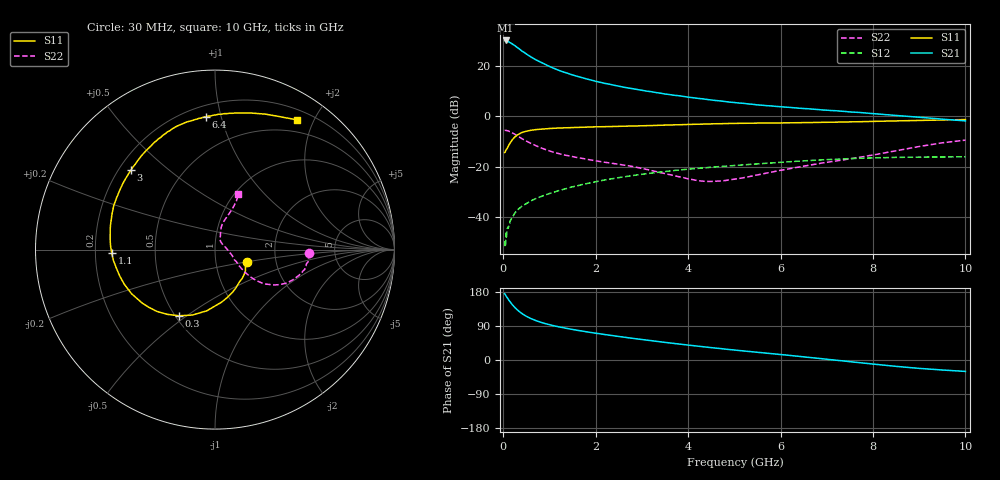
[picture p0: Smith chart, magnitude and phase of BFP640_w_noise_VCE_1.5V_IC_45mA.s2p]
! (c) 2013  Infineon Technologies AG, Munich
! Infineon Technologies  Discrete & RF Semiconductors
! BFP640
! VCE =  1.5 V,  IC =  45 mA
! Common Emitter S-Parameters:  Apr 2013
# GHz  S  MA  R  50
!  f  S11  S21  S12  S22
! GHz  MAG  ANG  MAG  ANG  MAG  ANG  MAG  ANG
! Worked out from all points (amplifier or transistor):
!   99 points, 30 MHz to 10 GHz, reference 50 ohm
!   highest |S21| = 29.9 dB at 50 MHz (marker M1)
!   |S21| within 3 dB of that: start of sweep to 321 MHz
!   unconditionally stable (mu >= 1): start of sweep to end of sweep
!   at 350 MHz: K = 1.06, MAG = 30.0 dB, |S12| = -36.4 dB
!   at 3.5 GHz: K = 1.33, MAG = 11.9 dB, |S12| = -21.9 dB
!   at 10 GHz: K = 1.28, MAG = 3.9 dB, |S12| = -16.0 dB
!   lowest NFmin = 1.34 dB at 450 MHz
!   S11 on the Smith chart (normalised r, x): 30 MHz: 1.41, -0.21; 300 MHz: 0.52, -0.47; 1.1 GHz: 0.27, -0.02; 3 GHz: 0.25, +0.38; 6.4 GHz: 0.27, +0.89; 10 GHz: 0.33, +1.77
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0.03  0.1912 -22.0  30.93 175.0  0.0027 37.6  0.522 -2.1
0.04  0.1942 -29.0  30.62 173.2  0.0033 47.1  0.5246 -3.6
0.05  0.2062 -34.7  31.25 171.5  0.0028 41.1  0.5231 -5.1
0.11  0.2556 -67.2  29.74 160.2  0.0061 61.0  0.5122 -12.5
0.15  0.2955 -83.0  28.27 153.4  0.0085 60.1  0.4907 -16.8
0.2  0.3443 -97.7  26.5 145.5  0.0101 57.4  0.4645 -21.4
0.25  0.386 -109.1  24.74 138.8  0.0121 59.2  0.4391 -25.2
0.3  0.4203 -118.7  22.8 132.9  0.0139 58.5  0.4109 -28.3
0.4  0.473 -133.3  19.39 123.1  0.0165 58.2  0.3608 -32.6
0.5  0.5036 -143.8  16.89 115.4  0.0187 57.8  0.3225 -35.4
0.6  0.5261 -152.2  14.76 109.3  0.0212 56.4  0.2888 -36.8
0.8  0.5512 -164.7  11.76 100.1  0.0254 56.5  0.2396 -37.5
1.1  0.5756 -178.1  8.77 90.3  0.0315 57.0  0.1921 -36.0
1.7  0.602 163.7  5.784 76.5  0.0444 55.2  0.1471 -31.2
2.2  0.6196 152.3  4.434 67.2  0.0549 52.6  0.1226 -27.7
3  0.6444 136.6  3.242 54.1  0.071 46.9  0.0926 -15.5
3.4  0.6602 129.5  2.844 48.0  0.0786 43.3  0.0765 -7.1
5.1  0.7206 106.5  1.814 25.1  0.1074 29.6  0.0586 60.1
6.4  0.7417 94.0  1.435 9.6  0.1291 18.9  0.0989 71.9
6.7  0.7488 90.7  1.373 5.8  0.1337 16.1  0.1103 73.1
8.5  0.8052 69.6  1.032 -16.8  0.1532 -1.5  0.2069 69.0
10  0.8549 57.7  0.805 -30.1  0.1576 -12.0  0.3358 67.2
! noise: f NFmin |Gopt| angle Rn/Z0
0.45  1.34  0.29  -171  0.08
0.9  1.35  0.32  -158  0.09
1.5  1.36  0.35  -145  0.12
1.9  1.39  0.36  222  0.14
2.4  1.47  0.38  -126  0.16
3.5  1.6  0.42  -109  0.2
5.5  1.85  0.45  -92  0.34
10  2.45  0.65  -47  0.99
